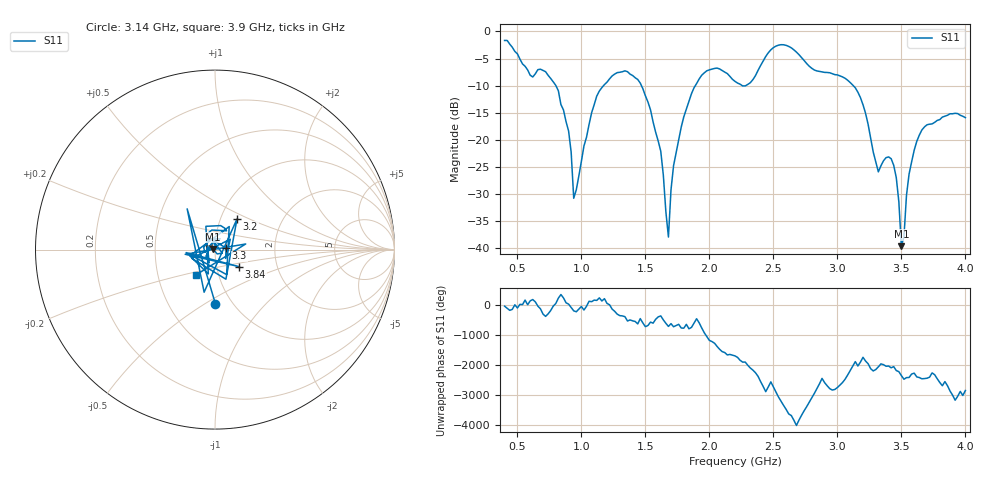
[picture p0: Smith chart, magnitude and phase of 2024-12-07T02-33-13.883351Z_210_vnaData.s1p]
!Created with skrf (http://scikit-rf.org).
# Hz S RI R 50.0
!freq ReS11 ImS11
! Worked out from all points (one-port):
!   181 points, 400 MHz to 4 GHz, reference 50 ohm
!   lowest |S11| = -39.6 dB at 3.5 GHz (marker M1), VSWR 1.02, Z = 49 + j0.279 ohm
!   |S11| at or under -10 dB: 800.6 MHz to 1.173 GHz (372.8 MHz wide, 37.8 % of centre); 1.469 GHz to 1.89 GHz (421.4 MHz wide, 25.1 % of centre); 3.124 GHz to end of sweep (the widest 3 of 4)
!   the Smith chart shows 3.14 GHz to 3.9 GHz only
!   S11 on the Smith chart (normalised r, x): 3.14 GHz: 0.84, -0.55; 3.2 GHz: 1.20, +0.43; 3.3 GHz: 1.13, +0.02; 3.84 GHz: 1.28, -0.25; 3.9 GHz: 0.78, -0.23
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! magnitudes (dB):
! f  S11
! 400 MHz  -1.7
! 600 MHz  -8.1
! 720 MHz  -7.4
! 860 MHz  -14.5
! 920 MHz  -22.3
! 940 MHz  -30.8
! 1.12 GHz  -11.9
! 1.3 GHz  -7.5
! 1.54 GHz  -14.5
! 1.62 GHz  -22.1
! 1.68 GHz  -38.0
! 1.7 GHz  -29.2
! 1.76 GHz  -20.0
! 1.94 GHz  -8.1
! 2.2 GHz  -9.2
! 2.66 GHz  -3.4
! 3.1 GHz  -9.4
! 3.14 GHz  -10.4
! 3.2 GHz  -13.5
! 3.3 GHz  -24.1
! 3.44 GHz  -24.7
! 3.48 GHz  -31.4
! 3.5 GHz  -39.6
! 3.56 GHz  -26.3
! 3.66 GHz  -18.2
! 3.84 GHz  -15.6
! 3.9 GHz  -15.2
! 4 GHz  -15.9
